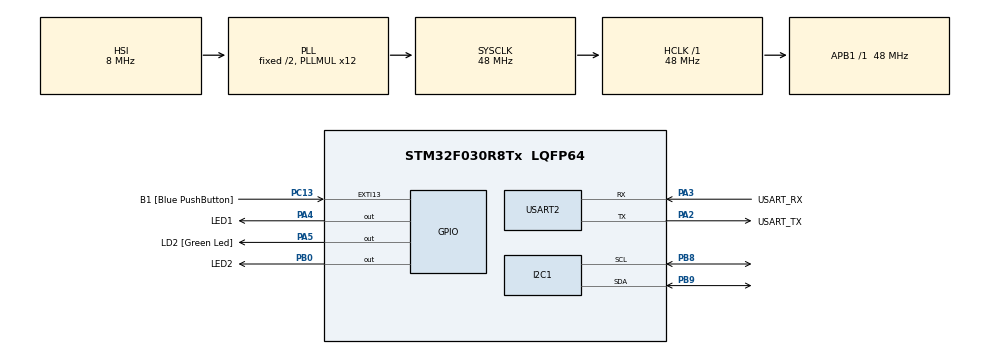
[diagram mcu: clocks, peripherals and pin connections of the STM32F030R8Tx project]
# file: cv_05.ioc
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Dma.Request0=USART2_RX
Dma.USART2_RX.0.Direction=DMA_PERIPH_TO_MEMORY
Dma.USART2_RX.0.Instance=DMA1_Channel5
Dma.USART2_RX.0.MemDataAlignment=DMA_MDATAALIGN_BYTE
Dma.USART2_RX.0.MemInc=DMA_MINC_ENABLE
Dma.USART2_RX.0.Mode=DMA_CIRCULAR
Dma.USART2_RX.0.PeriphDataAlignment=DMA_PDATAALIGN_BYTE
Dma.USART2_RX.0.PeriphInc=DMA_PINC_DISABLE
Dma.USART2_RX.0.Priority=DMA_PRIORITY_LOW
Mcu.Family=STM32F0
Mcu.Name=STM32F030R8Tx
Mcu.Package=LQFP64
NVIC.DMA1_Channel4_5_IRQn=true\:0\:0\:false\:false\:true\:false\:true
PA13.GPIO_Label=TMS
PA13.Mode=Serial_Wire
PA13.Signal=SYS_SWDIO
PA14.GPIO_Label=TCK
PA14.Mode=Serial_Wire
PA14.Signal=SYS_SWCLK
PA2.GPIO_Label=USART_TX
PA2.GPIO_Mode=GPIO_MODE_AF_PP
PA2.GPIO_PuPd=GPIO_NOPULL
PA2.GPIO_Speed=GPIO_SPEED_FREQ_LOW
PA2.Mode=Asynchronous
PA2.Signal=USART2_TX
PA3.GPIO_Label=USART_RX
PA3.GPIO_Mode=GPIO_MODE_AF_PP
PA3.GPIO_PuPd=GPIO_NOPULL
PA3.GPIO_Speed=GPIO_SPEED_FREQ_LOW
PA3.Mode=Asynchronous
PA3.Signal=USART2_RX
PA4.GPIO_Label=LED1
PA4.Signal=GPIO_Output
PA5.GPIO_Label=LD2 [Green Led]
PA5.GPIO_Mode=GPIO_MODE_OUTPUT_PP
PA5.GPIO_PuPd=GPIO_NOPULL
PA5.GPIO_Speed=GPIO_SPEED_FREQ_LOW
PA5.Signal=GPIO_Output
PB0.GPIO_Label=LED2
PB0.Signal=GPIO_Output
PB8.Mode=I2C
PB8.Signal=I2C1_SCL
PB9.Mode=I2C
PB9.Signal=I2C1_SDA
PC13.GPIO_Label=B1 [Blue PushButton]
PC13.GPIO_ModeDefaultEXTI=GPIO_MODE_IT_FALLING
PC13.Signal=GPXTI13
PC14-OSC32_IN.Mode=LSE-External-Oscillator
PC14-OSC32_IN.Signal=RCC_OSC32_IN
PC15-OSC32_OUT.Mode=LSE-External-Oscillator
PC15-OSC32_OUT.Signal=RCC_OSC32_OUT
PF0-OSC_IN.Mode=HSE-External-Clock-Source
PF0-OSC_IN.Signal=RCC_OSC_IN
PF1-OSC_OUT.Signal=RCC_OSC_OUT
ProjectManager.HeapSize=0x200
ProjectManager.StackSize=0x400
ProjectManager.TargetToolchain=STM32CubeIDE
RCC.AHBFreq_Value=48000000
RCC.APB1Freq_Value=48000000
RCC.APB1TimFreq_Value=48000000
RCC.HCLKFreq_Value=48000000
RCC.PLLMUL=RCC_PLL_MUL12
RCC.SYSCLKFreq_VALUE=48000000
RCC.SYSCLKSource=RCC_SYSCLKSOURCE_PLLCLK
USART2.VirtualMode-Asynchronous=VM_ASYNC
board=NUCLEO-F030R8

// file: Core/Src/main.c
/* USER CODE BEGIN Header */
/**
  ******************************************************************************
  * @file           : main.c
  * @brief          : Main program body
  ******************************************************************************
  * @attention
  *
  * <h2><center>&copy; Copyright (c) 2021 STMicroelectronics.
  * All rights reserved.</center></h2>
  *
  * This software component is licensed by ST under BSD 3-Clause license,
  * the "License"; You may not use this file except in compliance with the
  * License. You may obtain a copy of the License at:
  *                        opensource.org/licenses/BSD-3-Clause
  *
  ******************************************************************************
  */
/* USER CODE END Header */
#include "main.h"

/* USER CODE BEGIN Includes */
#include <stdio.h>
#include <string.h>
#include <stdlib.h>
/* USER CODE END Includes */

/* USER CODE BEGIN PD */
#define RX_BUFFER_LEN 64
#define CMD_BUFFER_LEN 256
#define EEPROM_ADDR 0xA0
/* USER CODE END PD */

/* USER CODE BEGIN PM */
#define uart_rx_write_ptr (RX_BUFFER_LEN - hdma_usart2_rx.Instance->CNDTR)
/* USER CODE END PM */

I2C_HandleTypeDef hi2c1;

UART_HandleTypeDef huart2;
DMA_HandleTypeDef hdma_usart2_rx;

/* USER CODE BEGIN PV */
static uint8_t uart_rx_buf[RX_BUFFER_LEN];
static volatile uint16_t uart_rx_read_ptr = 0;
/* USER CODE END PV */

void SystemClock_Config(void);
static void MX_GPIO_Init(void);
static void MX_DMA_Init(void);
static void MX_USART2_UART_Init(void);
static void MX_I2C1_Init(void);
/* USER CODE BEGIN PFP */
static void uart_byte_available(uint8_t c);
void uart_process_command(char *cmd);
int _write(int file, char const *buf, int n);
/* USER CODE END PFP */

int main(void)
{

  /* MCU Configuration--------------------------------------------------------*/

  /* Reset of all peripherals, Initializes the Flash interface and the Systick. */
  HAL_Init();

  /* Configure the system clock */
  SystemClock_Config();

  /* Initialize all configured peripherals */
  MX_GPIO_Init();
  MX_DMA_Init();
  MX_USART2_UART_Init();
  MX_I2C1_Init();
  /* USER CODE BEGIN 2 */
  HAL_UART_Receive_DMA(&huart2, uart_rx_buf, RX_BUFFER_LEN);
  /* USER CODE END 2 */

  /* Infinite loop */
  /* USER CODE BEGIN WHILE */
  while (1)
  {

	//uint8_t c;
	//HAL_UART_Receive(&huart2, &c, 1, HAL_MAX_DELAY);
	//HAL_UART_Transmit(&huart2, &c, 1, HAL_MAX_DELAY);

	while (uart_rx_read_ptr != uart_rx_write_ptr) {
		uint8_t b = uart_rx_buf[uart_rx_read_ptr];
		if (++uart_rx_read_ptr >= RX_BUFFER_LEN) uart_rx_read_ptr = 0; // increase read pointer
		uart_byte_available(b); // process every received byte with the RX state machine

	}
    /* USER CODE END WHILE */

  }
}

void SystemClock_Config(void)
{
  RCC_OscInitTypeDef RCC_OscInitStruct = {0};
  RCC_ClkInitTypeDef RCC_ClkInitStruct = {0};
  RCC_PeriphCLKInitTypeDef PeriphClkInit = {0};

  /** Initializes the RCC Oscillators according to the specified parameters
  * in the RCC_OscInitTypeDef structure.
  */
  RCC_OscInitStruct.OscillatorType = RCC_OSCILLATORTYPE_HSI;
  RCC_OscInitStruct.HSIState = RCC_HSI_ON;
  RCC_OscInitStruct.HSICalibrationValue = RCC_HSICALIBRATION_DEFAULT;
  RCC_OscInitStruct.PLL.PLLState = RCC_PLL_ON;
  RCC_OscInitStruct.PLL.PLLSource = RCC_PLLSOURCE_HSI;
  RCC_OscInitStruct.PLL.PLLMUL = RCC_PLL_MUL12;
  RCC_OscInitStruct.PLL.PREDIV = RCC_PREDIV_DIV1;
  if (HAL_RCC_OscConfig(&RCC_OscInitStruct) != HAL_OK)
  {
    Error_Handler();
  }
  /** Initializes the CPU, AHB and APB buses clocks
  */
  RCC_ClkInitStruct.ClockType = RCC_CLOCKTYPE_HCLK|RCC_CLOCKTYPE_SYSCLK
                              |RCC_CLOCKTYPE_PCLK1;
  RCC_ClkInitStruct.SYSCLKSource = RCC_SYSCLKSOURCE_PLLCLK;
  RCC_ClkInitStruct.AHBCLKDivider = RCC_SYSCLK_DIV1;
  RCC_ClkInitStruct.APB1CLKDivider = RCC_HCLK_DIV1;

  if (HAL_RCC_ClockConfig(&RCC_ClkInitStruct, FLASH_LATENCY_1) != HAL_OK)
  {
    Error_Handler();
  }
  PeriphClkInit.PeriphClockSelection = RCC_PERIPHCLK_I2C1;
  PeriphClkInit.I2c1ClockSelection = RCC_I2C1CLKSOURCE_HSI;
  if (HAL_RCCEx_PeriphCLKConfig(&PeriphClkInit) != HAL_OK)
  {
    Error_Handler();
  }
}

static void MX_I2C1_Init(void)
{

  hi2c1.Instance = I2C1;
  hi2c1.Init.Timing = 0x2000090E;
  hi2c1.Init.OwnAddress1 = 0;
  hi2c1.Init.AddressingMode = I2C_ADDRESSINGMODE_7BIT;
  hi2c1.Init.DualAddressMode = I2C_DUALADDRESS_DISABLE;
  hi2c1.Init.OwnAddress2 = 0;
  hi2c1.Init.OwnAddress2Masks = I2C_OA2_NOMASK;
  hi2c1.Init.GeneralCallMode = I2C_GENERALCALL_DISABLE;
  hi2c1.Init.NoStretchMode = I2C_NOSTRETCH_DISABLE;
  if (HAL_I2C_Init(&hi2c1) != HAL_OK)
  {
    Error_Handler();
  }
  /** Configure Analogue filter
  */
  if (HAL_I2CEx_ConfigAnalogFilter(&hi2c1, I2C_ANALOGFILTER_ENABLE) != HAL_OK)
  {
    Error_Handler();
  }
  /** Configure Digital filter
  */
  if (HAL_I2CEx_ConfigDigitalFilter(&hi2c1, 0) != HAL_OK)
  {
    Error_Handler();
  }

}

static void MX_USART2_UART_Init(void)
{

  huart2.Instance = USART2;
  huart2.Init.BaudRate = 38400;
  huart2.Init.WordLength = UART_WORDLENGTH_8B;
  huart2.Init.StopBits = UART_STOPBITS_1;
  huart2.Init.Parity = UART_PARITY_NONE;
  huart2.Init.Mode = UART_MODE_TX_RX;
  huart2.Init.HwFlowCtl = UART_HWCONTROL_NONE;
  huart2.Init.OverSampling = UART_OVERSAMPLING_16;
  huart2.Init.OneBitSampling = UART_ONE_BIT_SAMPLE_DISABLE;
  huart2.AdvancedInit.AdvFeatureInit = UART_ADVFEATURE_NO_INIT;
  if (HAL_UART_Init(&huart2) != HAL_OK)
  {
    Error_Handler();
  }

}

static void MX_DMA_Init(void)
{

  /* DMA controller clock enable */
  __HAL_RCC_DMA1_CLK_ENABLE();

  /* DMA interrupt init */
  /* DMA1_Channel4_5_IRQn interrupt configuration */
  HAL_NVIC_SetPriority(DMA1_Channel4_5_IRQn, 0, 0);
  HAL_NVIC_EnableIRQ(DMA1_Channel4_5_IRQn);

}

static void MX_GPIO_Init(void)
{
  GPIO_InitTypeDef GPIO_InitStruct = {0};

  /* GPIO Ports Clock Enable */
  __HAL_RCC_GPIOC_CLK_ENABLE();
  __HAL_RCC_GPIOF_CLK_ENABLE();
  __HAL_RCC_GPIOA_CLK_ENABLE();
  __HAL_RCC_GPIOB_CLK_ENABLE();

  /*Configure GPIO pin Output Level */
  HAL_GPIO_WritePin(GPIOA, LED1_Pin|LD2_Pin, GPIO_PIN_RESET);

  /*Configure GPIO pin Output Level */
  HAL_GPIO_WritePin(LED2_GPIO_Port, LED2_Pin, GPIO_PIN_RESET);

  /*Configure GPIO pin : B1_Pin */
  GPIO_InitStruct.Pin = B1_Pin;
  GPIO_InitStruct.Mode = GPIO_MODE_IT_FALLING;
  GPIO_InitStruct.Pull = GPIO_NOPULL;
  HAL_GPIO_Init(B1_GPIO_Port, &GPIO_InitStruct);

  /*Configure GPIO pins : LED1_Pin LD2_Pin */
  GPIO_InitStruct.Pin = LED1_Pin|LD2_Pin;
  GPIO_InitStruct.Mode = GPIO_MODE_OUTPUT_PP;
  GPIO_InitStruct.Pull = GPIO_NOPULL;
  GPIO_InitStruct.Speed = GPIO_SPEED_FREQ_LOW;
  HAL_GPIO_Init(GPIOA, &GPIO_InitStruct);

  /*Configure GPIO pin : LED2_Pin */
  GPIO_InitStruct.Pin = LED2_Pin;
  GPIO_InitStruct.Mode = GPIO_MODE_OUTPUT_PP;
  GPIO_InitStruct.Pull = GPIO_NOPULL;
  GPIO_InitStruct.Speed = GPIO_SPEED_FREQ_LOW;
  HAL_GPIO_Init(LED2_GPIO_Port, &GPIO_InitStruct);

}

/* USER CODE BEGIN 4 */
static void uart_byte_available(uint8_t c)
{
 static uint16_t cnt;
 static char data[CMD_BUFFER_LEN];
 if (cnt < CMD_BUFFER_LEN && c >= 32 && c <= 126) data[cnt++] = c;
 if ((c == '\n' || c == '\r') && cnt > 0) {
	 data[cnt] = '\0';
	 uart_process_command(data);
	 cnt = 0;
 }
}

void uart_process_command(char *cmd)
{
	//printf("prijato: '%s'\n", cmd);

	char *token;
	uint8_t addr, value;

	token = strtok(cmd, " ");
	if (strcasecmp(token, "HELLO") == 0) {
		printf("Komunikace OK\n");
	}
	else if(strcasecmp(token, "LED1") == 0){
		token = strtok(NULL, " ");
		if (strcasecmp(token, "ON") == 0){
			HAL_GPIO_WritePin(LED1_GPIO_Port, LED1_Pin, 1);
		}
		else if (strcasecmp(token, "OFF") == 0){
			HAL_GPIO_WritePin(LED1_GPIO_Port, LED1_Pin, 0);
		}
	}
	else if(strcasecmp(token, "LED2") == 0){
		token = strtok(NULL, " ");
		if (strcasecmp(token, "ON") == 0){
			HAL_GPIO_WritePin(LED2_GPIO_Port, LED2_Pin, 1);
		}
		else if (strcasecmp(token, "OFF") == 0){
			HAL_GPIO_WritePin(LED2_GPIO_Port, LED2_Pin, 0);
		}
	}
	else if(strcasecmp(token, "STATUS") == 0){
		if(HAL_GPIO_ReadPin(LED1_GPIO_Port, LED1_Pin)) printf("LED1 is on.\n");
		else printf("LED1 is off.\n");

		if(HAL_GPIO_ReadPin(LED2_GPIO_Port, LED2_Pin)) printf("LED2 is on\n.");
		else printf("LED2 is off.\n");
	}
	else if(strcasecmp(token, "READ") == 0){
		token = strtok(NULL, " ");
		addr = atoi(token);
		HAL_I2C_Mem_Read(&hi2c1, EEPROM_ADDR, addr, I2C_MEMADD_SIZE_16BIT, &value, 1, 1000);
		printf("Value na adrese %d je: %d\n",addr,value);
	}
	else if(strcasecmp(token, "WRITE") == 0){
		token = strtok(NULL, " ");
		addr = atoi(token);
		token = strtok(NULL, " ");
		value = atoi(token);

		HAL_I2C_Mem_Write(&hi2c1, EEPROM_ADDR, addr, I2C_MEMADD_SIZE_16BIT, &value, 1, 1000);
		while (HAL_I2C_IsDeviceReady(&hi2c1, EEPROM_ADDR, 300, 1000) == HAL_TIMEOUT) {}
		printf("Zapsano %d (%x) na adresu %d\n",value,value,addr);
	}
	/*
	else if(strcasecmp(token, "DUMP") == 0){
		for(uint8_t dump_addr = 0x0000;dump_addr <= 0x000F; dump_addr++){
			HAL_I2C_Mem_Read(&hi2c1, EEPROM_ADDR, dump_addr, I2C_MEMADD_SIZE_16BIT, &value, 1, 1000);
			printf("%02x ",value);
			if(dump_addr == 0x0007) putchar('\n');
		}
		putchar('\n');
	}
	*/
	else if(strcasecmp(token, "DUMP") == 0){
		uint8_t dump_vect[16];
		HAL_I2C_Mem_Read(&hi2c1, EEPROM_ADDR, 0x0000, I2C_MEMADD_SIZE_16BIT, dump_vect, 16, 1000);
		for(uint8_t i = 0 ;i < 16; i++){
			printf("%02x ",dump_vect[i]);
			if(i == 7) putchar('\n');
		}
		putchar('\n');
	}

}

int _write(int file, char const *buf, int n)
{
 /* stdout redirection to UART2 */
 HAL_UART_Transmit(&huart2, (uint8_t*)(buf), n, HAL_MAX_DELAY);
 return n;
}
/* USER CODE END 4 */

void Error_Handler(void)
{
  __disable_irq();
  while (1)
  {
  }
}

/************************ (C) COPYRIGHT STMicroelectronics *****END OF FILE****/
